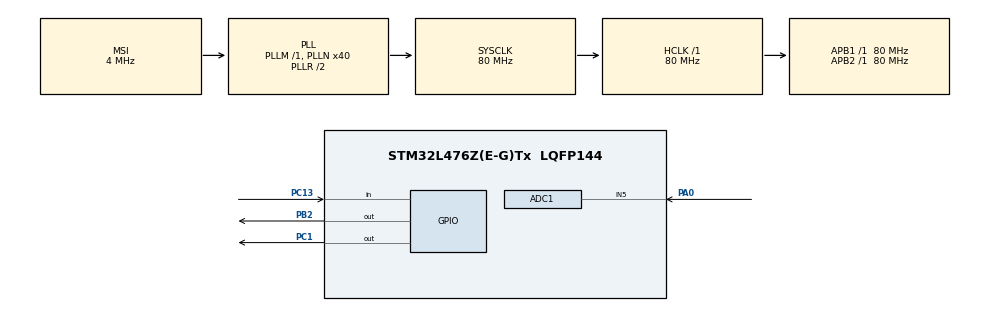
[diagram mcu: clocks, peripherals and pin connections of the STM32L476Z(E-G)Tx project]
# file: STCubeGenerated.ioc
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ADC1.Channel-5\#ChannelRegularConversion=ADC_CHANNEL_5
ADC1.ClockPrescaler=ADC_CLOCK_ASYNC_DIV1
ADC1.ContinuousConvMode=DISABLE
ADC1.DMAContinuousRequests=DISABLE
ADC1.DataAlign=ADC_DATAALIGN_RIGHT
ADC1.DiscontinuousConvMode=DISABLE
ADC1.EOCSelection=ADC_EOC_SINGLE_CONV
ADC1.EnableAnalogWatchDog1=false
ADC1.EnableAnalogWatchDog2=false
ADC1.EnableAnalogWatchDog3=false
ADC1.EnableInjectedConversion=DISABLE
ADC1.EnableRegularConversion=ENABLE
ADC1.ExternalTrigConv=ADC_SOFTWARE_START
ADC1.ExternalTrigConvEdge=ADC_EXTERNALTRIGCONVEDGE_NONE
ADC1.LowPowerAutoWait=DISABLE
ADC1.NbrOfConversion=1
ADC1.NbrOfConversionFlag=1
ADC1.OffsetNumber-5\#ChannelRegularConversion=ADC_OFFSET_NONE
ADC1.Overrun=ADC_OVR_DATA_PRESERVED
ADC1.OversamplingMode=DISABLE
ADC1.Rank-5\#ChannelRegularConversion=1
ADC1.Resolution=ADC_RESOLUTION_12B
ADC1.SamplingTime-5\#ChannelRegularConversion=ADC_SAMPLETIME_2CYCLES_5
ADC1.ScanConvMode=ADC_SCAN_DISABLE
ADC1.master=1
Mcu.Family=STM32L4
Mcu.Name=STM32L476Z(E-G)Tx
Mcu.Package=LQFP144
NVIC.PriorityGroup=NVIC_PRIORITYGROUP_4
NVIC.RTC_WKUP_IRQn=true\:0\:0\:false\:false\:true\:true\:true
PA0.Signal=ADCx_IN5
PB2.Signal=GPIO_Output
PC1.Signal=GPIO_Output
PC13.Signal=GPIO_Input
ProjectManager.HeapSize=0x200
ProjectManager.StackSize=0x400
ProjectManager.TargetToolchain=Makefile
RCC.ADCCLockSelection=RCC_ADCCLKSOURCE_SYSCLK
RCC.ADCFreq_Value=80000000
RCC.AHBFreq_Value=80000000
RCC.APB1Freq_Value=80000000
RCC.APB1TimFreq_Value=80000000
RCC.APB2Freq_Value=80000000
RCC.APB2TimFreq_Value=80000000
RCC.CortexFreq_Value=80000000
RCC.HCLKFreq_Value=80000000
RCC.HSE_VALUE=8000000
RCC.HSI_VALUE=16000000
RCC.LSE_VALUE=32768
RCC.MSI_VALUE=4000000
RCC.PLLN=40
RCC.PLLSAI1N=16
RCC.SYSCLKFreq_VALUE=80000000
RCC.SYSCLKSource=RCC_SYSCLKSOURCE_PLLCLK
RCC.USBFreq_Value=32000000
RCC.VCOOutputFreq_Value=160000000
SH.ADCx_IN5.0=ADC1_IN5,IN5-Single-Ended
VP_RTC_VS_RTC_Activate.Mode=RTC_Enabled
VP_RTC_VS_RTC_WakeUp_intern.Mode=WakeUp
board=STCubeGenerated

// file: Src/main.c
/* USER CODE BEGIN Header */
/**
  ******************************************************************************
  * @file           : main.c
  * @brief          : Main program body
  ******************************************************************************
  ** This notice applies to any and all portions of this file
  * that are not between comment pairs USER CODE BEGIN and
  * USER CODE END. Other portions of this file, whether
  * inserted by the user or by software development tools
  * are owned by their respective copyright owners.
  *
  * COPYRIGHT(c) 2018 STMicroelectronics
  *
  * Redistribution and use in source and binary forms, with or without modification,
  * are permitted provided that the following conditions are met:
  *   1. Redistributions of source code must retain the above copyright notice,
  *      this list of conditions and the following disclaimer.
  *   2. Redistributions in binary form must reproduce the above copyright notice,
  *      this list of conditions and the following disclaimer in the documentation
  *      and/or other materials provided with the distribution.
  *   3. Neither the name of STMicroelectronics nor the names of its contributors
  *      may be used to endorse or promote products derived from this software
  *      without specific prior written permission.
  *
  * THIS SOFTWARE IS PROVIDED BY THE COPYRIGHT HOLDERS AND CONTRIBUTORS "AS IS"
  * AND ANY EXPRESS OR IMPLIED WARRANTIES, INCLUDING, BUT NOT LIMITED TO, THE
  * IMPLIED WARRANTIES OF MERCHANTABILITY AND FITNESS FOR A PARTICULAR PURPOSE ARE
  * DISCLAIMED. IN NO EVENT SHALL THE COPYRIGHT HOLDER OR CONTRIBUTORS BE LIABLE
  * FOR ANY DIRECT, INDIRECT, INCIDENTAL, SPECIAL, EXEMPLARY, OR CONSEQUENTIAL
  * DAMAGES (INCLUDING, BUT NOT LIMITED TO, PROCUREMENT OF SUBSTITUTE GOODS OR
  * SERVICES; LOSS OF USE, DATA, OR PROFITS; OR BUSINESS INTERRUPTION) HOWEVER
  * CAUSED AND ON ANY THEORY OF LIABILITY, WHETHER IN CONTRACT, STRICT LIABILITY,
  * OR TORT (INCLUDING NEGLIGENCE OR OTHERWISE) ARISING IN ANY WAY OUT OF THE USE
  * OF THIS SOFTWARE, EVEN IF ADVISED OF THE POSSIBILITY OF SUCH DAMAGE.
  *
  ******************************************************************************
  */
/* USER CODE END Header */
#include "main.h"

ADC_HandleTypeDef hadc1;

RTC_HandleTypeDef hrtc;

/* USER CODE BEGIN PV */
/* Private variables ---------------------------------------------------------*/

/* USER CODE END PV */

void SystemClock_Config(void);
static void MX_GPIO_Init(void);
static void MX_ADC1_Init(void);
static void MX_RTC_Init(void);
/* USER CODE BEGIN PFP */
/* Private function prototypes -----------------------------------------------*/

/* USER CODE END PFP */

/* USER CODE BEGIN 0 */

/**
  * Override default HAL_GetTick function
  */
uint32_t HAL_GetTick (void) {
  static uint32_t ticks = 0U;
         uint32_t i;

  if (osKernelGetState () == osKernelRunning) {
    return ((uint32_t)osKernelGetTickCount ());
  }

  if (osKernelGetState () == osKernelSuspended) {
    return ++ticks;
  }

  /* If Kernel is not running wait approximately 1 ms then increment
     and return auxiliary tick counter value */
  for (i = (SystemCoreClock >> 14U); i > 0U; i--) {
    __NOP(); __NOP(); __NOP(); __NOP(); __NOP(); __NOP();
    __NOP(); __NOP(); __NOP(); __NOP(); __NOP(); __NOP();
  }
  return ++ticks;
}
/* USER CODE END 0 */

int main(void)
{

  /* MCU Configuration--------------------------------------------------------*/

  /* Reset of all peripherals, Initializes the Flash interface and the Systick. */
  HAL_Init();

  /* Configure the system clock */
  SystemClock_Config();

  /* USER CODE BEGIN SysInit */
  SystemCoreClockUpdate();
  /* USER CODE END SysInit */

  /* Initialize all configured peripherals */
  MX_GPIO_Init();
  MX_ADC1_Init();
  MX_RTC_Init();
  /* USER CODE BEGIN 2 */

  /* Initialize CMSIS-RTOS2 */
  osKernelInitialize ();

  /* Create application main thread */
  osThreadNew(app_main, NULL, NULL);

  /* Start thread execution */
  osKernelStart();

  /* USER CODE END 2 */

  /* Infinite loop */
  while (1)
  {

  }
}

void SystemClock_Config(void)
{
  RCC_OscInitTypeDef RCC_OscInitStruct = {0};
  RCC_ClkInitTypeDef RCC_ClkInitStruct = {0};
  RCC_PeriphCLKInitTypeDef PeriphClkInit = {0};

  /** Initializes the RCC Oscillators according to the specified parameters
  * in the RCC_OscInitTypeDef structure.
  */
  RCC_OscInitStruct.OscillatorType = RCC_OSCILLATORTYPE_LSI|RCC_OSCILLATORTYPE_MSI;
  RCC_OscInitStruct.LSIState = RCC_LSI_ON;
  RCC_OscInitStruct.MSIState = RCC_MSI_ON;
  RCC_OscInitStruct.MSICalibrationValue = 0;
  RCC_OscInitStruct.MSIClockRange = RCC_MSIRANGE_6;
  RCC_OscInitStruct.PLL.PLLState = RCC_PLL_ON;
  RCC_OscInitStruct.PLL.PLLSource = RCC_PLLSOURCE_MSI;
  RCC_OscInitStruct.PLL.PLLM = 1;
  RCC_OscInitStruct.PLL.PLLN = 40;
  RCC_OscInitStruct.PLL.PLLP = RCC_PLLP_DIV7;
  RCC_OscInitStruct.PLL.PLLQ = RCC_PLLQ_DIV2;
  RCC_OscInitStruct.PLL.PLLR = RCC_PLLR_DIV2;
  if (HAL_RCC_OscConfig(&RCC_OscInitStruct) != HAL_OK)
  {
    Error_Handler();
  }
  /** Initializes the CPU, AHB and APB buses clocks
  */
  RCC_ClkInitStruct.ClockType = RCC_CLOCKTYPE_HCLK|RCC_CLOCKTYPE_SYSCLK
                              |RCC_CLOCKTYPE_PCLK1|RCC_CLOCKTYPE_PCLK2;
  RCC_ClkInitStruct.SYSCLKSource = RCC_SYSCLKSOURCE_PLLCLK;
  RCC_ClkInitStruct.AHBCLKDivider = RCC_SYSCLK_DIV1;
  RCC_ClkInitStruct.APB1CLKDivider = RCC_HCLK_DIV1;
  RCC_ClkInitStruct.APB2CLKDivider = RCC_HCLK_DIV1;

  if (HAL_RCC_ClockConfig(&RCC_ClkInitStruct, FLASH_LATENCY_4) != HAL_OK)
  {
    Error_Handler();
  }
  PeriphClkInit.PeriphClockSelection = RCC_PERIPHCLK_RTC|RCC_PERIPHCLK_ADC;
  PeriphClkInit.AdcClockSelection = RCC_ADCCLKSOURCE_SYSCLK;
  PeriphClkInit.RTCClockSelection = RCC_RTCCLKSOURCE_LSI;
  if (HAL_RCCEx_PeriphCLKConfig(&PeriphClkInit) != HAL_OK)
  {
    Error_Handler();
  }
  /** Configure the main internal regulator output voltage
  */
  if (HAL_PWREx_ControlVoltageScaling(PWR_REGULATOR_VOLTAGE_SCALE1) != HAL_OK)
  {
    Error_Handler();
  }
}

static void MX_ADC1_Init(void)
{

  ADC_MultiModeTypeDef multimode = {0};
  ADC_ChannelConfTypeDef sConfig = {0};

  /** Common config
  */
  hadc1.Instance = ADC1;
  hadc1.Init.ClockPrescaler = ADC_CLOCK_ASYNC_DIV1;
  hadc1.Init.Resolution = ADC_RESOLUTION_12B;
  hadc1.Init.DataAlign = ADC_DATAALIGN_RIGHT;
  hadc1.Init.ScanConvMode = ADC_SCAN_DISABLE;
  hadc1.Init.EOCSelection = ADC_EOC_SINGLE_CONV;
  hadc1.Init.LowPowerAutoWait = DISABLE;
  hadc1.Init.ContinuousConvMode = DISABLE;
  hadc1.Init.NbrOfConversion = 1;
  hadc1.Init.DiscontinuousConvMode = DISABLE;
  hadc1.Init.ExternalTrigConv = ADC_SOFTWARE_START;
  hadc1.Init.ExternalTrigConvEdge = ADC_EXTERNALTRIGCONVEDGE_NONE;
  hadc1.Init.DMAContinuousRequests = DISABLE;
  hadc1.Init.Overrun = ADC_OVR_DATA_PRESERVED;
  hadc1.Init.OversamplingMode = DISABLE;
  if (HAL_ADC_Init(&hadc1) != HAL_OK)
  {
    Error_Handler();
  }
  /** Configure the ADC multi-mode
  */
  multimode.Mode = ADC_MODE_INDEPENDENT;
  if (HAL_ADCEx_MultiModeConfigChannel(&hadc1, &multimode) != HAL_OK)
  {
    Error_Handler();
  }
  /** Configure Regular Channel
  */
  sConfig.Channel = ADC_CHANNEL_5;
  sConfig.Rank = ADC_REGULAR_RANK_1;
  sConfig.SamplingTime = ADC_SAMPLETIME_2CYCLES_5;
  sConfig.SingleDiff = ADC_SINGLE_ENDED;
  sConfig.OffsetNumber = ADC_OFFSET_NONE;
  sConfig.Offset = 0;
  if (HAL_ADC_ConfigChannel(&hadc1, &sConfig) != HAL_OK)
  {
    Error_Handler();
  }

}

static void MX_RTC_Init(void)
{

  /** Initialize RTC Only
  */
  hrtc.Instance = RTC;
  hrtc.Init.HourFormat = RTC_HOURFORMAT_24;
  hrtc.Init.AsynchPrediv = 127;
  hrtc.Init.SynchPrediv = 255;
  hrtc.Init.OutPut = RTC_OUTPUT_DISABLE;
  hrtc.Init.OutPutRemap = RTC_OUTPUT_REMAP_NONE;
  hrtc.Init.OutPutPolarity = RTC_OUTPUT_POLARITY_HIGH;
  hrtc.Init.OutPutType = RTC_OUTPUT_TYPE_OPENDRAIN;
  if (HAL_RTC_Init(&hrtc) != HAL_OK)
  {
    Error_Handler();
  }
  /** Enable the WakeUp
  */
  if (HAL_RTCEx_SetWakeUpTimer_IT(&hrtc, 0, RTC_WAKEUPCLOCK_RTCCLK_DIV16) != HAL_OK)
  {
    Error_Handler();
  }

}

static void MX_GPIO_Init(void)
{
  GPIO_InitTypeDef GPIO_InitStruct = {0};

  /* GPIO Ports Clock Enable */
  __HAL_RCC_GPIOC_CLK_ENABLE();
  __HAL_RCC_GPIOA_CLK_ENABLE();
  __HAL_RCC_GPIOB_CLK_ENABLE();

  /*Configure GPIO pin Output Level */
  HAL_GPIO_WritePin(GPIOC, GPIO_PIN_1, GPIO_PIN_RESET);

  /*Configure GPIO pin Output Level */
  HAL_GPIO_WritePin(GPIOB, GPIO_PIN_2, GPIO_PIN_RESET);

  /*Configure GPIO pin : PC13 */
  GPIO_InitStruct.Pin = GPIO_PIN_13;
  GPIO_InitStruct.Mode = GPIO_MODE_INPUT;
  GPIO_InitStruct.Pull = GPIO_NOPULL;
  HAL_GPIO_Init(GPIOC, &GPIO_InitStruct);

  /*Configure GPIO pin : PC1 */
  GPIO_InitStruct.Pin = GPIO_PIN_1;
  GPIO_InitStruct.Mode = GPIO_MODE_OUTPUT_PP;
  GPIO_InitStruct.Pull = GPIO_NOPULL;
  GPIO_InitStruct.Speed = GPIO_SPEED_FREQ_LOW;
  HAL_GPIO_Init(GPIOC, &GPIO_InitStruct);

  /*Configure GPIO pin : PB2 */
  GPIO_InitStruct.Pin = GPIO_PIN_2;
  GPIO_InitStruct.Mode = GPIO_MODE_OUTPUT_PP;
  GPIO_InitStruct.Pull = GPIO_NOPULL;
  GPIO_InitStruct.Speed = GPIO_SPEED_FREQ_LOW;
  HAL_GPIO_Init(GPIOB, &GPIO_InitStruct);

}

void Error_Handler(void)
{
  while(1)
  {
  }
}

/************************ (C) COPYRIGHT STMicroelectronics *****END OF FILE****/
